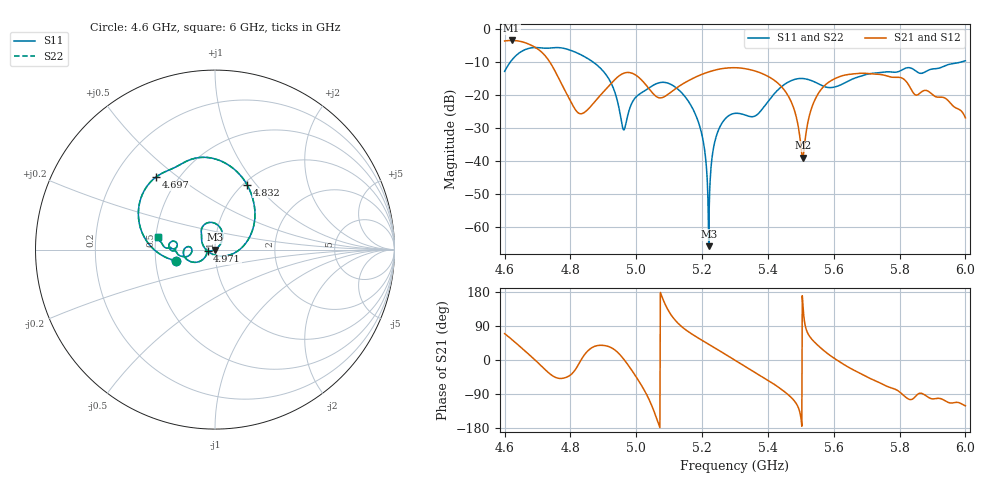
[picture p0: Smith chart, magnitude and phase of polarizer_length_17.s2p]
! TOUCHSTONE file generated by CST MICROWAVE STUDIO
! Date and time: Sun Dec  1 17:17:02 2024
! Project name: test_tuning.cst
! Parameters = {airCoaxOuterDiameter=3; chamferAngle=45; chamferWidth=24; connectorLength=10; drillingHoleDiameter=4.1; feedLength=60; flareDiameter=130; flareLength=70; gratingDistance=0; gratingGap=1.90274; outletLength=30; polarizerLength=96; probe1Diameter=1.3; probe1Distance=14; probe1Length=12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
! Header version: 2024
! Port assignment regex: !\s*Touchstone port\s*([0-9]+)\s*=\s*(CST MWS port|CST DES external port|CST DES block port)\s*(.+)\s* \(\"(.*)\"\)(\s*mode\s*([0-9]+))?.*
! Touchstone port assignment:
! Touchstone port 1 = CST MWS port 1 ("Input1")
! Touchstone port 2 = CST MWS port 2 ("Input2")
# GHz S MA R 50
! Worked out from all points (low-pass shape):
!   1001 points, 4.6 GHz to 6 GHz, reference 50 ohm
!   highest |S21| = -3.51 dB at 4.621 GHz (marker M1); lowest = -39.1 dB at 5.506 GHz (marker M2)
!   |S21| within 3 dB of the highest: start of sweep to 4.706 GHz
!   lowest |S11| = -65.9 dB at 5.22 GHz (marker M3), VSWR 1.00, Z = 50 + j0.0282 ohm
!   |S11| at or under -10 dB: start of sweep to 4.617774 GHz; 4.868 GHz to 5.987 GHz (1.119 GHz wide, 20.6 % of centre)
!   |S22| runs from -65.9 to -5.7 dB; largest |S21 - S12| = 5.5e-07
!   S11 on the Smith chart (normalised r, x): 4.6 GHz: 0.64, -0.08; 4.697 GHz: 0.38, +0.42; 4.832 GHz: 1.04, +0.90; 4.971 GHz: 0.92, -0.02; 6 GHz: 0.51, +0.08
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4.6  0.2271 -164.1  0.6553 69.6  0.6553 69.6  0.2271 -164.1
4.621  0.332 -178.9  0.6677 54.8  0.6677 54.8  0.332 -178.9
4.6966  0.521 129.3  0.5112 -3.3  0.5112 -3.3  0.521 129.3
4.8324  0.4039 63.8  0.05155 0.3  0.05155 0.3  0.4039 63.8
4.8338  0.4005 63.1  0.05166 2.3  0.05166 2.3  0.4005 63.1
4.9108  0.1937 16.9  0.1263 36.8  0.1263 36.8  0.1937 16.9
4.9598  0.03046 -94.2  0.2104 4.5  0.2104 4.5  0.03046 -94.2
4.971  0.04177 -167.1  0.2179 -8.2  0.2179 -8.2  0.04177 -167.1
5.0676  0.1514 113.0  0.09052 -168.2  0.09052 -168.2  0.1514 113.0
5.1768  0.05449 49.0  0.1822 64.2  0.1822 64.2  0.05449 49.1
5.202  0.02163 38.1  0.2067 50.8  0.2067 50.8  0.02163 38.1
5.2202  0.0005054 146.0  0.2225 41.4  0.2225 41.4  0.0005061 146.0
5.2454  0.02554 -163.7  0.2413 28.4  0.2413 28.4  0.02554 -163.7
5.3  0.05232 178.3  0.2577 -0.6  0.2577 -0.6  0.05232 178.3
5.363  0.04828 -160.1  0.2282 -33.9  0.2282 -33.9  0.04828 -160.1
5.4456  0.1382 -149.3  0.1254 -80.5  0.1254 -80.5  0.1382 -149.3
5.4792  0.1701 -163.2  0.06101 -106.8  0.06101 -106.8  0.1701 -163.2
5.5058  0.1767 -175.0  0.0111 151.9  0.0111 151.9  0.1767 -175.0
5.5338  0.1632 175.9  0.06524 54.4  0.06524 54.4  0.1632 175.9
5.6136  0.1366 -170.3  0.1852 -2.4  0.1852 -2.4  0.1366 -170.3
5.7676  0.2233 -179.8  0.1892 -71.4  0.1892 -71.4  0.2233 -179.8
6  0.3279 167.5  0.0447 -120.8  0.0447 -120.8  0.3279 167.5
